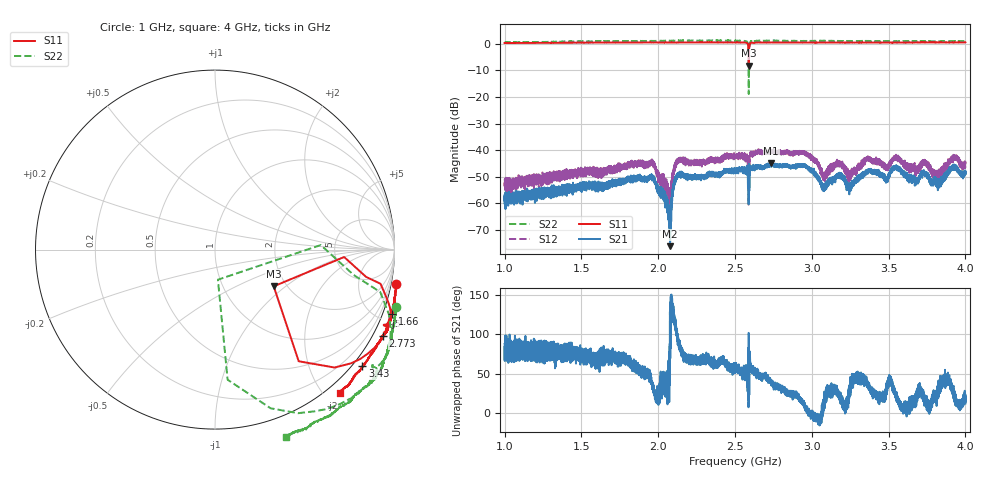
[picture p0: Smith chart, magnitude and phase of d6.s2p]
!Agilent Technologies,N5230C,SG49000117,A.08.50.07
!Agilent N5230C: A.08.50.07
!Date: Monday, May 20, 2024 21:12:58
!Correction: S11(Full 2 Port(1,2))
!S21(Full 2 Port(1,2))
!S12(Full 2 Port(1,2))
!S22(Full 2 Port(1,2))
!S2P File: Measurements: S11, S21, S12, S22:
# Hz S  MA  R 50
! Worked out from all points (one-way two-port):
!   20001 points, 1 GHz to 4 GHz, reference 50 ohm
!   highest |S21| = -44.97 dB at 2.735 GHz (marker M1); lowest = -76.1 dB at 2.077 GHz (marker M2)
!   lowest |S11| = -8.3 dB at 2.589 GHz (marker M3), VSWR 2.26, Z = 86 - j41.3 ohm
!   |S11| at or under -10 dB: nowhere
!   |S22| runs from -18.9 to 1.2 dB; largest |S21 - S12| = 0.0059
!   S11 on the Smith chart (normalised r, x): 1 GHz: -2, -10; 1.66 GHz: -0.82, -5.61; 2.773 GHz: -0.45, -4.07; 3.43 GHz: -0.21, -2.86; 4 GHz: -0.17, -2.19
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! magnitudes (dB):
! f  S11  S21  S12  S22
! 1 GHz  0.2  -58.8  -52.2  0.5
! 1.5 GHz  0.4  -52.5  -48.4  0.8
! 1.66 GHz  0.4  -53.1  -47.0  0.9
! 1.954 GHz  0.5  -50.5  -44.1  1.0
! 2 GHz  0.5  -54.4  -50.9  1.1
! 2.077 GHz  0.5  -76.1  -59.0  1.1
! 2.107 GHz  0.4  -51.9  -46.5  1.1
! 2.134 GHz  0.5  -49.5  -43.8  1.1
! 2.5 GHz  0.5  -47.1  -42.2  1.1
! 2.589 GHz  -8.3  -48.4  -45.2  -15.5
! 2.735 GHz  0.4  -45.0  -40.2  1.1
! 2.773 GHz  0.4  -46.1  -41.4  1.1
! 3 GHz  0.4  -47.6  -43.3  1.0
! 3.079 GHz  0.4  -54.3  -49.8  1.1
! 3.168 GHz  0.4  -49.6  -45.5  1.0
! 3.245 GHz  0.4  -54.3  -48.8  1.0
! 3.43 GHz  0.4  -48.3  -44.6  1.0
! 3.5 GHz  0.4  -50.0  -46.0  0.9
! 3.55 GHz  0.4  -46.5  -42.9  0.9
! 3.817 GHz  0.5  -50.7  -48.6  0.9
! 3.925 GHz  0.5  -47.2  -42.7  0.9
! 4 GHz  0.5  -48.7  -45.3  1.0
